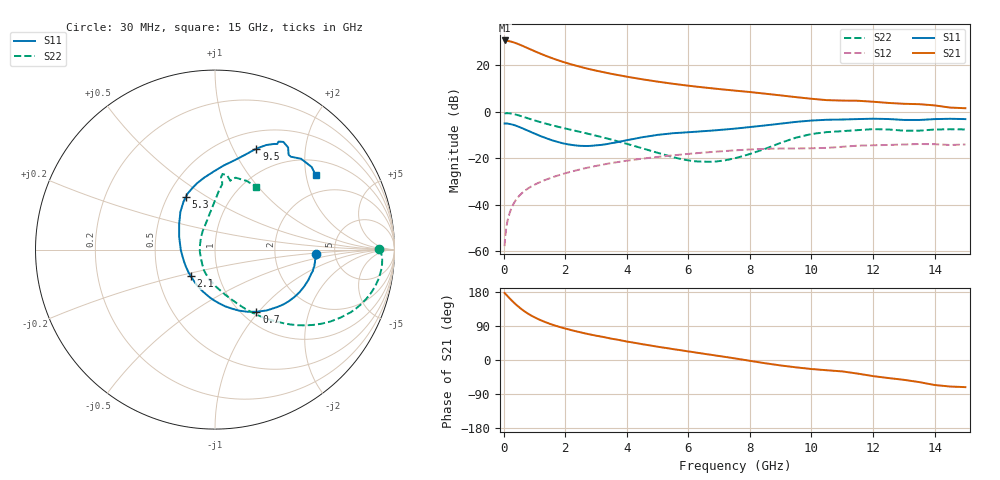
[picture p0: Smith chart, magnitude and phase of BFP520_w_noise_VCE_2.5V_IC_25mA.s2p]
! Infineon Technologies  Discrete & RF Semiconductors
! BFP520
! VCE =  2.5 V,  IC =  25 mA
! Common Emitter S-Parameters:  Oct 2015
# GHz  S  MA  R  50
!  f  S11  S21  S12  S22
! GHz  MAG  ANG  MAG  ANG  MAG  ANG  MAG  ANG
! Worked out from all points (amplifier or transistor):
!   109 points, 30 MHz to 15 GHz, reference 50 ohm
!   highest |S21| = 30.7 dB at 30 MHz (marker M1)
!   |S21| within 3 dB of that: start of sweep to 728.8 MHz
!   unconditionally stable (mu >= 1): start of sweep to 40.77 MHz; 2.673 GHz to end of sweep
!   at 450 MHz: K = 0.40, MSG = 33.1 dB, |S12| = -37.0 dB
!   at 4 GHz: K = 1.10, MAG = 16.1 dB, |S12| = -21.0 dB
!   at 15 GHz: K = 1.25, MAG = 4.8 dB, |S12| = -14.0 dB
!   lowest NFmin = 2.24 dB at 900 MHz
!   S11 on the Smith chart (normalised r, x): 30 MHz: 3.54, -0.24; 700 MHz: 1.16, -0.97; 2.1 GHz: 0.73, -0.22; 5.3 GHz: 0.62, +0.41; 9.5 GHz: 0.69, +1.24; 15 GHz: 1.41, +2.28
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0.03  0.5609 -2.4  34.1 176.8  0.0013 82.0  0.9139 0.2
0.14  0.5582 -12.5  33.27 167.3  0.005 80.0  0.9334 -6.6
0.2  0.5471 -18.0  32.65 162.2  0.0069 78.9  0.9262 -10.1
0.35  0.5157 -30.7  30.59 150.1  0.0114 75.8  0.8867 -18.0
0.5  0.4736 -42.3  28.04 139.4  0.0156 73.0  0.8331 -24.8
0.6  0.4455 -49.5  26.33 132.9  0.0181 71.4  0.7946 -28.5
0.7  0.4165 -56.3  24.62 127.1  0.0205 70.0  0.757 -32.0
0.8  0.39 -62.6  22.99 121.8  0.0228 68.8  0.7208 -35.0
1  0.3411 -74.3  20.12 112.8  0.0271 67.0  0.6551 -40.1
1.3  0.2837 -90.8  16.63 101.7  0.0334 64.8  0.5737 -46.1
1.5  0.2539 -101.3  14.79 95.5  0.0374 63.7  0.5286 -49.5
1.7  0.2305 -112.0  13.26 90.1  0.0416 62.5  0.4894 -52.5
2.1  0.1994 -133.1  10.92 81.0  0.0499 59.9  0.4237 -57.9
2.6  0.1849 -160.0  8.852 71.0  0.0604 56.4  0.3553 -64.4
3.5  0.2118 160.6  6.541 56.2  0.0793 48.8  0.2531 -78.1
5.1  0.3247 121.8  4.356 33.8  0.109 34.1  0.1262 -120.1
5.3  0.3355 118.9  4.175 31.4  0.1125 32.3  0.1156 -125.8
7.6  0.4416 89.5  2.818 3.1  0.1498 10.7  0.1043 137.7
9.5  0.6082 67.7  2.066 -19.4  0.1633 -7.8  0.279 89.5
10.5  0.6751 60.7  1.782 -27.1  0.168 -13.1  0.3665 83.7
13  0.6691 52.2  1.487 -52.3  0.1985 -34.6  0.3931 77.5
15  0.6976 36.4  1.193 -71.6  0.1986 -50.9  0.4184 57.0
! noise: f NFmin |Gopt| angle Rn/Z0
0.45  2.26  0.05  -41  0.28
0.9  2.24  0.05  -56  0.3
1.9  2.41  0.06  -76  0.3
2.4  2.41  0.09  -92  0.29
3.5  2.36  0.1  -92  0.31
